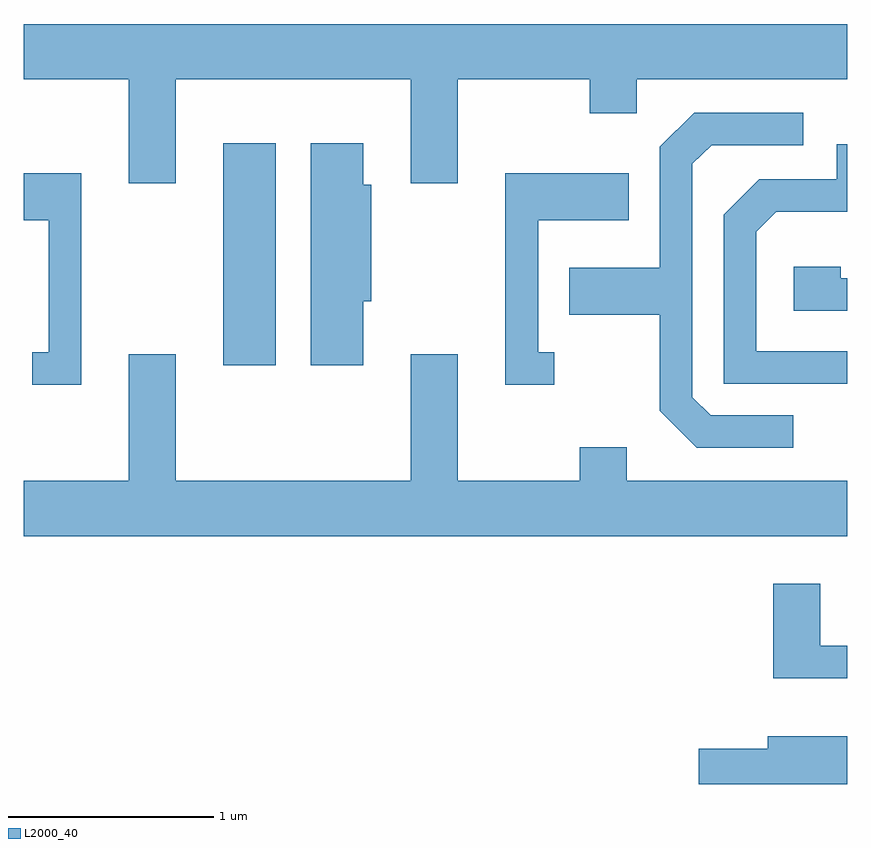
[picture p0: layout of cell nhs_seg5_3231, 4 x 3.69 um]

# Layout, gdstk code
import gdstk
lib = gdstk.Library(unit=1e-6, precision=1e-09)
def R(c, l, rs):  # rectangles x0, y0, x1, y1
    for r in rs: c.add(gdstk.rectangle(r[:2], r[2:], *l))
def P(c, l, *ps):  # polygons
    for p in ps: c.add(gdstk.Polygon(p, *l))
L2000_40 = (2000, 40)

nhs_seg5_3231 = lib.new_cell('nhs_seg5_3231')
R(nhs_seg5_3231, L2000_40, [(282.581,1422.106,282.834,1423.184)])
P(nhs_seg5_3231, L2000_40, [(282.349,1423.496),(283.491,1423.496),(283.491,1422.991),(283.719,1422.991),(283.719,1423.496),(284.361,1423.496),(284.361,1423.331),(284.589,1423.331),(284.589,1423.496),(285.611,1423.496),(285.611,1423.764),(281.611,1423.764),(281.611,1423.496),(282.121,1423.496),(282.121,1422.991),(282.349,1422.991)],
  [(285.348,1421.864),(284.947,1421.864),(284.859,1421.952),(284.859,1423.084),(284.952,1423.176),(285.398,1423.176),(285.398,1423.334),(284.869,1423.334),(284.701,1423.167),(284.701,1422.579),(284.261,1422.579),(284.261,1422.351),(284.701,1422.351),(284.701,1421.884),(284.879,1421.706),(285.348,1421.706)],
  [(283.259,1422.416),(283.299,1422.416),(283.299,1422.984),(283.259,1422.984),(283.259,1423.184),(283.006,1423.184),(283.006,1422.106),(283.259,1422.106)],
  [(285.611,1422.174),(285.169,1422.174),(285.169,1422.754),(285.267,1422.851),(285.611,1422.851),(285.611,1423.179),(285.561,1423.179),(285.561,1423.009),(285.184,1423.009),(285.011,1422.837),(285.011,1422.016),(285.611,1422.016)],
  [(281.889,1423.039),(281.611,1423.039),(281.611,1422.811),(281.731,1422.811),(281.731,1422.169),(281.653,1422.169),(281.653,1422.011),(281.889,1422.011)],
  [(284.188,1422.169),(284.109,1422.169),(284.109,1422.811),(284.549,1422.811),(284.549,1423.039),(283.951,1423.039),(283.951,1422.011),(284.188,1422.011)],
  [(285.611,1422.529),(285.579,1422.529),(285.579,1422.584),(285.351,1422.584),(285.351,1422.371),(285.611,1422.371)],
  [(285.611,1421.544),(284.539,1421.544),(284.539,1421.709),(284.311,1421.709),(284.311,1421.544),(283.719,1421.544),(283.719,1422.159),(283.491,1422.159),(283.491,1421.544),(282.349,1421.544),(282.349,1422.159),(282.121,1422.159),(282.121,1421.544),(281.611,1421.544),(281.611,1421.276),(285.611,1421.276)],
  [(285.611,1420.744),(285.479,1420.744),(285.479,1421.044),(285.251,1421.044),(285.251,1420.586),(285.611,1420.586)],
  [(285.611,1420.304),(285.226,1420.304),(285.226,1420.244),(284.891,1420.244),(284.891,1420.072),(285.611,1420.072)])

lib.write_gds('nhs_seg5_3231.gds')
